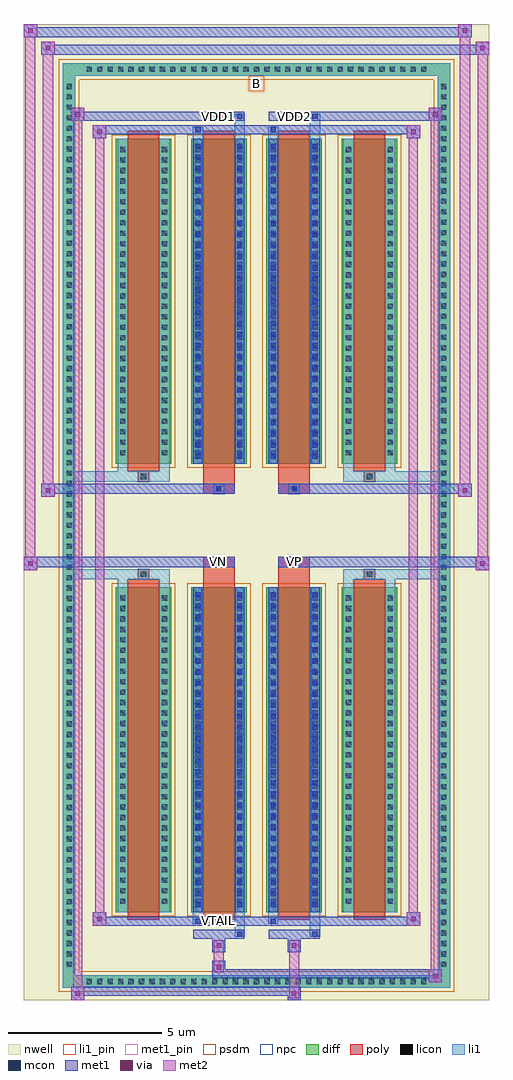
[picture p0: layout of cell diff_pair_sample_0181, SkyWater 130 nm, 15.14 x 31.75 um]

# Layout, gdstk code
import gdstk
lib = gdstk.Library(unit=1e-6, precision=5e-09)
def R(c, l, rs):  # rectangles x0, y0, x1, y1
    for r in rs: c.add(gdstk.rectangle(r[:2], r[2:], *l))
def A(c, l, x, y, w, h, nx, ny, dx, dy):  # array of equal rectangles
    R(c, l, [(x+i*dx, y+j*dy, x+i*dx+w, y+j*dy+h) for i in range(nx) for j in range(ny)])
def P(c, l, *ps):  # polygons
    for p in ps: c.add(gdstk.Polygon(p, *l))
nwell = (64, 20)
diff = (65, 20)
poly = (66, 20)
licon = (66, 44)
li1_pin = (67, 16)
li1 = (67, 20)
mcon = (67, 44)
met1_pin = (68, 16)
met1 = (68, 20)
via = (68, 44)
met2 = (69, 20)
psdm = (94, 20)
npc = (95, 20)

diff_pair_sample_0181 = lib.new_cell('diff_pair_sample_0181')
R(diff_pair_sample_0181, nwell, [(-7.57,-15.44,7.57,16.31), (-4.89,-13.63,-0.01,-0.825), (0.01,-13.63,4.89,-0.825), (-4.89,0.825,-0.01,13.63), (0.01,0.825,4.89,13.63)])
A(diff_pair_sample_0181, diff, -5.645, -15.04, 0.41, 0.41, 33, 2, 0.34, 29.67)
A(diff_pair_sample_0181, diff, -6.3, -14.485, 0.41, 0.41, 1, 85, 0, 0.34)
A(diff_pair_sample_0181, diff, 5.89, -14.485, 0.41, 0.41, 1, 85, 0, 0.34)
A(diff_pair_sample_0181, diff, -4.58, -12.585, 1.81, 10.58, 4, 2, 2.45, 14.59)
R(diff_pair_sample_0181, diff, [(-5.645,-15.04,5.645,-14.63), (-6.3,-14.485,-5.89,14.485), (5.89,-14.485,6.3,14.485), (-5.645,14.63,5.645,15.04)])
P(diff_pair_sample_0181, diff, [(6.3,15.04),(-6.3,15.04),(-6.3,-14.63),(-5.89,-14.63),(-5.89,14.63),(5.89,14.63),(5.89,-14.63),(-5.89,-14.63),(-6.3,-14.63),(-6.3,-15.04),(6.3,-15.04)])
A(diff_pair_sample_0181, poly, -4.19, -12.835, 1.03, 11.08, 4, 2, 2.45, 14.59)
R(diff_pair_sample_0181, poly, [(-3.84,-1.755,-3.51,-1.425), (-3.84,-1.755,-3.51,-1.425), (-1.74,-1.755,-0.71,-1.355), (0.71,-1.755,1.74,-1.355), (3.51,-1.755,3.84,-1.425), (3.51,-1.755,3.84,-1.425), (-1.74,-1.355,-0.71,-1.025), (-1.39,-1.355,-1.06,-1.025), (0.71,-1.355,1.74,-1.025), (1.06,-1.355,1.39,-1.025), (-1.74,1.025,-0.71,1.355), (-1.39,1.025,-1.06,1.355), (0.71,1.025,1.74,1.355), (1.06,1.025,1.39,1.355), (-1.74,1.355,-0.71,1.755), (0.71,1.355,1.74,1.755), (-3.84,1.425,-3.51,1.755), (-3.84,1.425,-3.51,1.755), (3.51,1.425,3.84,1.755), (3.51,1.425,3.84,1.755)])
A(diff_pair_sample_0181, licon, -5.525, -14.92, 0.17, 0.17, 33, 2, 0.34, 29.67)
A(diff_pair_sample_0181, licon, -6.18, -14.365, 0.17, 0.17, 1, 85, 0, 0.34)
A(diff_pair_sample_0181, licon, 6.01, -14.365, 0.17, 0.17, 1, 85, 0, 0.34)
A(diff_pair_sample_0181, licon, -4.44, -12.31, 0.17, 0.17, 1, 30, 0, 0.34)
A(diff_pair_sample_0181, licon, -3.08, -12.31, 0.17, 0.17, 1, 30, 0, 0.34)
A(diff_pair_sample_0181, licon, -1.99, -12.31, 0.17, 0.17, 1, 30, 0, 0.34)
A(diff_pair_sample_0181, licon, -0.63, -12.31, 0.17, 0.17, 1, 30, 0, 0.34)
A(diff_pair_sample_0181, licon, 0.46, -12.31, 0.17, 0.17, 1, 30, 0, 0.34)
A(diff_pair_sample_0181, licon, 1.82, -12.31, 0.17, 0.17, 1, 30, 0, 0.34)
A(diff_pair_sample_0181, licon, 2.91, -12.31, 0.17, 0.17, 1, 30, 0, 0.34)
A(diff_pair_sample_0181, licon, 4.27, -12.31, 0.17, 0.17, 1, 30, 0, 0.34)
A(diff_pair_sample_0181, licon, -4.44, 2.28, 0.17, 0.17, 1, 30, 0, 0.34)
A(diff_pair_sample_0181, licon, -3.08, 2.28, 0.17, 0.17, 1, 30, 0, 0.34)
A(diff_pair_sample_0181, licon, -1.99, 2.28, 0.17, 0.17, 1, 30, 0, 0.34)
A(diff_pair_sample_0181, licon, -0.63, 2.28, 0.17, 0.17, 1, 30, 0, 0.34)
A(diff_pair_sample_0181, licon, 0.46, 2.28, 0.17, 0.17, 1, 30, 0, 0.34)
A(diff_pair_sample_0181, licon, 1.82, 2.28, 0.17, 0.17, 1, 30, 0, 0.34)
A(diff_pair_sample_0181, licon, 2.91, 2.28, 0.17, 0.17, 1, 30, 0, 0.34)
A(diff_pair_sample_0181, licon, 4.27, 2.28, 0.17, 0.17, 1, 30, 0, 0.34)
R(diff_pair_sample_0181, licon, [(-3.76,-1.675,-3.59,-1.505), (3.59,-1.675,3.76,-1.505), (-1.31,-1.275,-1.14,-1.105), (1.14,-1.275,1.31,-1.105), (-1.31,1.105,-1.14,1.275), (1.14,1.105,1.31,1.275), (-3.76,1.505,-3.59,1.675), (3.59,1.505,3.76,1.675)])
R(diff_pair_sample_0181, li1_pin, [(-0.25,14.13,0.25,14.63)])
A(diff_pair_sample_0181, li1, -5.605, -15, 0.33, 0.33, 33, 2, 0.34, 29.67)
A(diff_pair_sample_0181, li1, -6.26, -14.445, 0.33, 0.33, 1, 85, 0, 0.34)
A(diff_pair_sample_0181, li1, 5.93, -14.445, 0.33, 0.33, 1, 85, 0, 0.34)
A(diff_pair_sample_0181, li1, -1.99, -12.42, 0.17, 0.17, 1, 29, 0, 0.36)
A(diff_pair_sample_0181, li1, -0.63, -12.42, 0.17, 0.17, 1, 29, 0, 0.36)
A(diff_pair_sample_0181, li1, 0.46, -12.42, 0.17, 0.17, 1, 29, 0, 0.36)
A(diff_pair_sample_0181, li1, 1.82, -12.42, 0.17, 0.17, 1, 29, 0, 0.36)
A(diff_pair_sample_0181, li1, -4.52, -12.39, 0.33, 0.33, 1, 30, 0, 0.34)
A(diff_pair_sample_0181, li1, -3.16, -12.39, 0.33, 0.33, 1, 30, 0, 0.34)
A(diff_pair_sample_0181, li1, -2.07, -12.39, 0.33, 0.33, 1, 30, 0, 0.34)
A(diff_pair_sample_0181, li1, -0.71, -12.39, 0.33, 0.33, 1, 30, 0, 0.34)
A(diff_pair_sample_0181, li1, 0.38, -12.39, 0.33, 0.33, 1, 30, 0, 0.34)
A(diff_pair_sample_0181, li1, 1.74, -12.39, 0.33, 0.33, 1, 30, 0, 0.34)
A(diff_pair_sample_0181, li1, 2.83, -12.39, 0.33, 0.33, 1, 30, 0, 0.34)
A(diff_pair_sample_0181, li1, 4.19, -12.39, 0.33, 0.33, 1, 30, 0, 0.34)
A(diff_pair_sample_0181, li1, -1.99, 2.17, 0.17, 0.17, 1, 29, 0, 0.36)
A(diff_pair_sample_0181, li1, -0.63, 2.17, 0.17, 0.17, 1, 29, 0, 0.36)
A(diff_pair_sample_0181, li1, 0.46, 2.17, 0.17, 0.17, 1, 29, 0, 0.36)
A(diff_pair_sample_0181, li1, 1.82, 2.17, 0.17, 0.17, 1, 29, 0, 0.36)
A(diff_pair_sample_0181, li1, -4.52, 2.2, 0.33, 0.33, 1, 30, 0, 0.34)
A(diff_pair_sample_0181, li1, -3.16, 2.2, 0.33, 0.33, 1, 30, 0, 0.34)
A(diff_pair_sample_0181, li1, -2.07, 2.2, 0.33, 0.33, 1, 30, 0, 0.34)
A(diff_pair_sample_0181, li1, -0.71, 2.2, 0.33, 0.33, 1, 30, 0, 0.34)
A(diff_pair_sample_0181, li1, 0.38, 2.2, 0.33, 0.33, 1, 30, 0, 0.34)
A(diff_pair_sample_0181, li1, 1.74, 2.2, 0.33, 0.33, 1, 30, 0, 0.34)
A(diff_pair_sample_0181, li1, 2.83, 2.2, 0.33, 0.33, 1, 30, 0, 0.34)
A(diff_pair_sample_0181, li1, 4.19, 2.2, 0.33, 0.33, 1, 30, 0, 0.34)
R(diff_pair_sample_0181, li1, [(-6.3,-15.04,-5.89,-14.63), (-6.3,-15.04,-5.89,-14.63), (-5.89,-15.04,5.89,-14.63), (5.89,-15.04,6.3,-14.63), (5.89,-15.04,6.3,-14.63), (-6.3,-14.63,-5.89,14.63), (5.89,-14.63,6.3,14.63), (-0.71,-13.39,-0.38,-12.585), (-0.63,-13.39,-0.46,-13.22), (1.74,-13.39,2.07,-12.585), (1.82,-13.39,1.99,-13.22), (-2.07,-12.96,-1.74,-12.585), (-1.99,-12.96,-1.82,-12.79), (0.38,-12.96,0.71,-12.585), (0.46,-12.96,0.63,-12.79), (-4.52,-12.585,-4.19,-2.005), (-3.16,-12.585,-2.83,-2.005), (-2.07,-12.585,-1.74,-2.005), (-0.71,-12.585,-0.38,-2.005), (0.38,-12.585,0.71,-2.005), (1.74,-12.585,2.07,-2.005), (2.83,-12.585,3.16,-2.005), (4.19,-12.585,4.52,-2.005), (-1.99,-12.42,-1.82,-2.17), (-0.63,-12.42,-0.46,-2.17), (0.46,-12.42,0.63,-2.17), (1.82,-12.42,1.99,-2.17), (-4.52,-2.005,-4.19,-1.425), (-3.16,-2.005,-2.83,-1.425), (2.83,-2.005,3.16,-1.425), (4.19,-2.005,4.52,-1.425), (-6.3,-1.755,-3.84,-1.425), (-4.52,-1.755,-3.84,-1.425), (-3.84,-1.755,-3.51,-1.425), (-3.51,-1.755,-2.83,-1.425), (2.83,-1.755,3.51,-1.425), (3.51,-1.755,3.84,-1.425), (3.51,-1.755,6.3,-1.425), (3.84,-1.755,4.52,-1.425), (-1.39,-1.355,-1.06,-1.025), (1.06,-1.355,1.39,-1.025), (-1.39,1.025,-1.06,1.355), (1.06,1.025,1.39,1.355), (-6.3,1.425,-3.84,1.755), (-4.52,1.425,-3.84,1.755), (-4.52,1.425,-4.19,2.005), (-3.84,1.425,-3.51,1.755), (-3.51,1.425,-2.83,1.755), (-3.16,1.425,-2.83,2.005), (2.83,1.425,3.51,1.755), (2.83,1.425,3.16,2.005), (3.51,1.425,3.84,1.755), (3.51,1.425,6.3,1.755), (3.84,1.425,4.52,1.755), (4.19,1.425,4.52,2.005), (-4.52,2.005,-4.19,12.585), (-3.16,2.005,-2.83,12.585), (-2.07,2.005,-1.74,12.585), (-0.71,2.005,-0.38,12.585), (0.38,2.005,0.71,12.585), (1.74,2.005,2.07,12.585), (2.83,2.005,3.16,12.585), (4.19,2.005,4.52,12.585), (-1.99,2.17,-1.82,12.42), (-0.63,2.17,-0.46,12.42), (0.46,2.17,0.63,12.42), (1.82,2.17,1.99,12.42), (-2.07,12.585,-1.74,12.96), (-0.71,12.585,-0.38,13.39), (0.38,12.585,0.71,12.96), (1.74,12.585,2.07,13.39), (-1.99,12.79,-1.82,12.96), (0.46,12.79,0.63,12.96), (-0.63,13.22,-0.46,13.39), (1.82,13.22,1.99,13.39), (-6.3,14.63,-5.89,15.04), (-6.3,14.63,-5.89,15.04), (-5.89,14.63,5.89,15.04), (5.89,14.63,6.3,15.04), (5.89,14.63,6.3,15.04)])
A(diff_pair_sample_0181, mcon, -1.99, -12.42, 0.17, 0.17, 1, 29, 0, 0.36)
A(diff_pair_sample_0181, mcon, -0.63, -12.42, 0.17, 0.17, 1, 29, 0, 0.36)
A(diff_pair_sample_0181, mcon, 0.46, -12.42, 0.17, 0.17, 1, 29, 0, 0.36)
A(diff_pair_sample_0181, mcon, 1.82, -12.42, 0.17, 0.17, 1, 29, 0, 0.36)
A(diff_pair_sample_0181, mcon, -1.99, 2.17, 0.17, 0.17, 1, 29, 0, 0.36)
A(diff_pair_sample_0181, mcon, -0.63, 2.17, 0.17, 0.17, 1, 29, 0, 0.36)
A(diff_pair_sample_0181, mcon, 0.46, 2.17, 0.17, 0.17, 1, 29, 0, 0.36)
A(diff_pair_sample_0181, mcon, 1.82, 2.17, 0.17, 0.17, 1, 29, 0, 0.36)
R(diff_pair_sample_0181, mcon, [(-0.63,-13.39,-0.46,-13.22), (1.82,-13.39,1.99,-13.22), (-1.99,-12.96,-1.82,-12.79), (0.46,-12.96,0.63,-12.79), (-1.31,-1.275,-1.14,-1.105), (1.14,-1.275,1.31,-1.105), (-1.31,1.105,-1.14,1.275), (1.14,1.105,1.31,1.275), (-1.99,12.79,-1.82,12.96), (0.46,12.79,0.63,12.96), (-0.63,13.22,-0.46,13.39), (1.82,13.22,1.99,13.39)])
R(diff_pair_sample_0181, met1_pin, [(-1.36,-13,-1.09,-12.73), (-1.36,-1.295,-1.09,-1.025), (1.09,-1.295,1.36,-1.025), (-1.36,13.18,-1.09,13.45), (1.09,13.18,1.36,13.45)])
A(diff_pair_sample_0181, met1, -2.05, -12.48, 0.29, 0.29, 1, 29, 0, 0.36)
A(diff_pair_sample_0181, met1, -0.69, -12.48, 0.29, 0.29, 1, 29, 0, 0.36)
A(diff_pair_sample_0181, met1, 0.4, -12.48, 0.29, 0.29, 1, 29, 0, 0.36)
A(diff_pair_sample_0181, met1, 1.76, -12.48, 0.29, 0.29, 1, 29, 0, 0.36)
A(diff_pair_sample_0181, met1, -2.05, 2.11, 0.29, 0.29, 1, 29, 0, 0.36)
A(diff_pair_sample_0181, met1, -0.69, 2.11, 0.29, 0.29, 1, 29, 0, 0.36)
A(diff_pair_sample_0181, met1, 0.4, 2.11, 0.29, 0.29, 1, 29, 0, 0.36)
A(diff_pair_sample_0181, met1, 1.76, 2.11, 0.29, 0.29, 1, 29, 0, 0.36)
R(diff_pair_sample_0181, met1, [(-6.03,-15.44,-5.6,-15.01), (1.01,-15.44,1.44,-15.01), (-6.03,-15.3,1.44,-15.01), (5.6,-14.87,6.03,-14.44), (-1.44,-14.73,6.03,-14.44), (-1.44,-14.59,-1.01,-14.16), (-1.44,-13.88,-1.01,-13.45), (1.01,-13.88,1.44,-13.45), (-2.05,-13.45,-0.4,-13.16), (-0.69,-13.45,-0.4,-13.16), (0.4,-13.45,2.05,-13.16), (1.76,-13.45,2.05,-13.16), (-5.32,-13.02,-4.89,-12.59), (-5.32,-13.02,-2.05,-12.73), (-2.05,-13.02,-1.76,-12.73), (-2.05,-13.02,-0.4,-12.73), (-0.4,-13.02,0.4,-12.73), (0.4,-13.02,0.69,-12.73), (0.4,-13.02,2.05,-12.73), (2.05,-13.02,5.32,-12.73), (4.89,-13.02,5.32,-12.59), (-2.05,-12.585,-1.76,-2.005), (-0.69,-12.585,-0.4,-2.005), (0.4,-12.585,0.69,-2.005), (1.76,-12.585,2.05,-2.005), (-7.57,-1.455,-7.14,-1.025), (7.14,-1.455,7.57,-1.025), (-7.57,-1.355,-0.71,-1.025), (-1.74,-1.355,-0.71,-1.025), (0.71,-1.355,1.74,-1.025), (0.71,-1.355,7.57,-1.025), (-1.37,-1.335,-1.08,-1.045), (1.08,-1.335,1.37,-1.045), (-7,0.925,-6.57,1.355), (6.57,0.925,7,1.355), (-7,1.025,-1.74,1.355), (-1.74,1.025,-0.71,1.355), (0.71,1.025,1.74,1.355), (1.74,1.025,7,1.355), (-1.37,1.045,-1.08,1.335), (1.08,1.045,1.37,1.335), (-2.05,2.005,-1.76,12.585), (-0.69,2.005,-0.4,12.585), (0.4,2.005,0.69,12.585), (1.76,2.005,2.05,12.585), (-5.32,12.59,-4.89,13.02), (4.89,12.59,5.32,13.02), (-5.32,12.73,-2.05,13.02), (-2.05,12.73,-1.76,13.02), (-2.05,12.73,-0.4,13.02), (-0.4,12.73,0.4,13.02), (0.4,12.73,0.69,13.02), (0.4,12.73,2.05,13.02), (2.05,12.73,5.32,13.02), (-6.03,13.16,-5.6,13.59), (-6.03,13.16,-2.05,13.45), (-2.05,13.16,-0.4,13.45), (-0.69,13.16,-0.4,13.45), (0.4,13.16,2.05,13.45), (1.76,13.16,2.05,13.45), (2.05,13.16,6.03,13.45), (5.6,13.16,6.03,13.59), (-7,15.31,-6.57,15.74), (-7,15.31,-4.89,15.64), (-4.89,15.31,4.89,15.64), (4.89,15.31,7.57,15.64), (7.14,15.31,7.57,15.74), (-7.57,15.88,-7.14,16.31), (-7.57,15.88,-4.89,16.21), (-4.89,15.88,4.89,16.21), (4.89,15.88,7,16.21), (6.57,15.88,7,16.31)])
R(diff_pair_sample_0181, via, [(-5.89,-15.3,-5.74,-15.15), (1.15,-15.3,1.3,-15.15), (5.74,-14.73,5.89,-14.58), (-1.3,-14.45,-1.15,-14.3), (-1.3,-13.74,-1.15,-13.59), (1.15,-13.74,1.3,-13.59), (-5.18,-12.88,-5.03,-12.73), (5.03,-12.88,5.18,-12.73), (-7.43,-1.315,-7.28,-1.165), (7.28,-1.315,7.43,-1.165), (-6.86,1.065,-6.71,1.215), (6.71,1.065,6.86,1.215), (-5.18,12.73,-5.03,12.88), (5.03,12.73,5.18,12.88), (-5.89,13.3,-5.74,13.45), (5.74,13.3,5.89,13.45), (-6.86,15.45,-6.71,15.6), (7.28,15.45,7.43,15.6), (-7.43,16.02,-7.28,16.17), (6.71,16.02,6.86,16.17)])
R(diff_pair_sample_0181, met2, [(-6.03,-15.44,-5.6,-15.01), (-5.96,-15.44,-5.67,13.59), (-5.67,-15.44,-5.6,-15.01), (-5.98,-15.39,-5.65,-15.06), (1.06,-15.39,1.39,-15.06), (1.06,-15.06,1.39,-13.83), (5.6,-14.87,6.03,-14.44), (5.67,-14.87,5.96,13.59), (5.96,-14.87,6.03,-14.44), (5.65,-14.82,5.98,-14.49), (-1.39,-14.54,-1.06,-14.21), (-1.39,-14.21,-1.06,-13.83), (-1.39,-13.83,-1.06,-13.5), (1.06,-13.83,1.39,-13.5), (-5.32,-13.02,-4.89,-12.59), (-5.25,-13.02,-4.96,13.02), (-4.96,-13.02,-4.89,-12.59), (4.89,-13.02,5.32,-12.59), (4.96,-13.02,5.25,13.02), (5.25,-13.02,5.32,-12.59), (-5.27,-12.97,-4.94,-12.64), (4.94,-12.97,5.27,-12.64), (-7.57,-1.455,-7.14,-1.025), (-7.52,-1.455,-7.19,16.31), (-7.19,-1.455,-7.14,-1.025), (7.14,-1.455,7.57,-1.025), (7.19,-1.455,7.52,15.74), (7.52,-1.455,7.57,-1.025), (-7.52,-1.405,-7.19,-1.075), (7.19,-1.405,7.52,-1.075), (-7,0.925,-6.57,1.355), (-6.95,0.925,-6.62,15.74), (-6.62,0.925,-6.57,1.355), (6.57,0.925,7,1.355), (6.62,0.925,6.95,16.31), (6.95,0.925,7,1.355), (-6.95,0.975,-6.62,1.305), (6.62,0.975,6.95,1.305), (-5.32,12.59,-4.89,13.02), (-4.96,12.59,-4.89,13.02), (4.89,12.59,5.32,13.02), (5.25,12.59,5.32,13.02), (-5.27,12.64,-4.94,12.97), (4.94,12.64,5.27,12.97), (-6.03,13.16,-5.6,13.59), (-5.67,13.16,-5.6,13.59), (5.6,13.16,6.03,13.59), (5.96,13.16,6.03,13.59), (-5.98,13.21,-5.65,13.54), (5.65,13.21,5.98,13.54), (-7,15.31,-6.57,15.74), (-6.62,15.31,-6.57,15.74), (7.14,15.31,7.57,15.74), (7.52,15.31,7.57,15.74), (-6.95,15.36,-6.62,15.69), (7.19,15.36,7.52,15.69), (-7.57,15.88,-7.14,16.31), (-7.19,15.88,-7.14,16.31), (6.57,15.88,7,16.31), (6.95,15.88,7,16.31), (-7.52,15.93,-7.19,16.26), (6.62,15.93,6.95,16.26)])
A(diff_pair_sample_0181, psdm, -4.71, -12.715, 2.07, 10.84, 4, 2, 2.45, 14.59)
P(diff_pair_sample_0181, psdm, [(6.43,15.17),(-6.43,15.17),(-6.43,-14.5),(-5.76,-14.5),(-5.76,14.5),(5.76,14.5),(5.76,-14.5),(-5.76,-14.5),(-6.43,-14.5),(-6.43,-15.17),(6.43,-15.17)])
R(diff_pair_sample_0181, npc, [(-3.86,-1.775,-3.49,-1.405), (3.49,-1.775,3.86,-1.405), (-1.41,-1.375,-1.04,-1.005), (1.04,-1.375,1.41,-1.005), (-1.41,1.005,-1.04,1.375), (1.04,1.005,1.41,1.375), (-3.86,1.405,-3.49,1.775), (3.49,1.405,3.86,1.775)])
diff_pair_sample_0181.add(gdstk.Label('VTAIL', (-1.225,-12.865), layer=68, texttype=5))
diff_pair_sample_0181.add(gdstk.Label('VN', (-1.225,-1.16), layer=68, texttype=5))
diff_pair_sample_0181.add(gdstk.Label('VP', (1.225,-1.16), layer=68, texttype=5))
diff_pair_sample_0181.add(gdstk.Label('B', (0,14.38), layer=67, texttype=5))
diff_pair_sample_0181.add(gdstk.Label('VDD2', (1.225,13.315), layer=68, texttype=5))
diff_pair_sample_0181.add(gdstk.Label('VDD1', (-1.225,13.315), layer=68, texttype=5))

lib.write_gds('diff_pair_sample_0181.gds')
